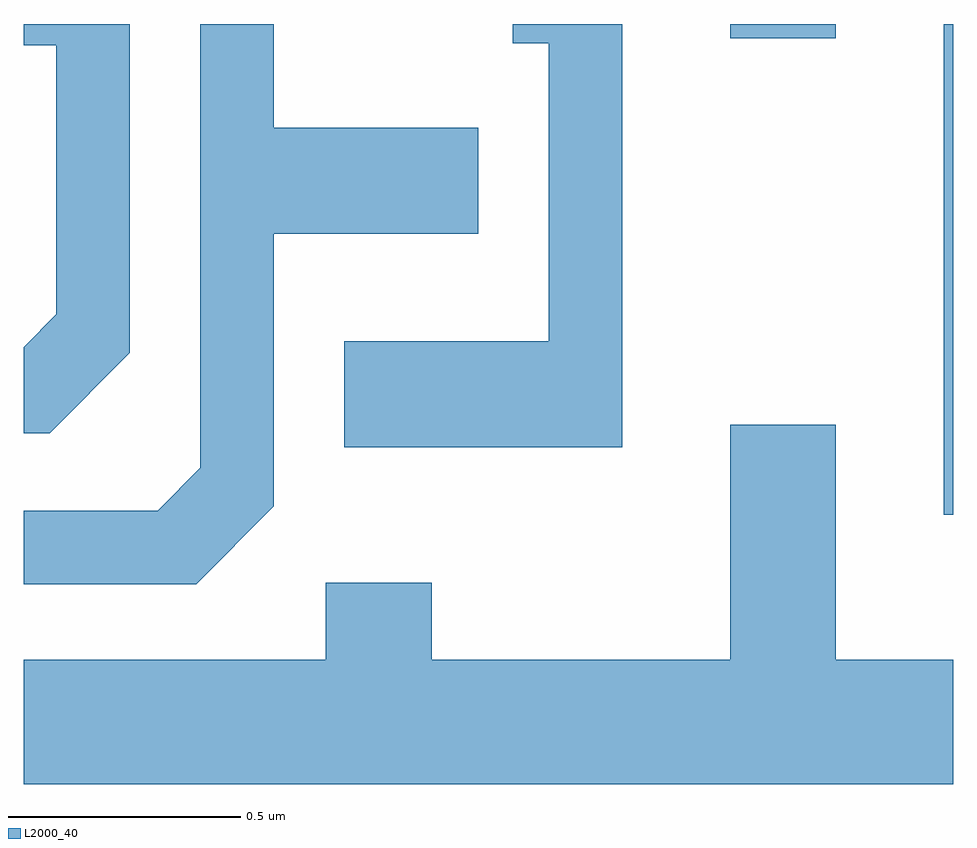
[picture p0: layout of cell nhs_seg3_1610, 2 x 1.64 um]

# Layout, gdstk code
import gdstk
lib = gdstk.Library(unit=1e-6, precision=1e-09)
def R(c, l, rs):  # rectangles x0, y0, x1, y1
    for r in rs: c.add(gdstk.rectangle(r[:2], r[2:], *l))
def P(c, l, *ps):  # polygons
    for p in ps: c.add(gdstk.Polygon(p, *l))
L2000_40 = (2000, 40)

nhs_seg3_1610 = lib.new_cell('nhs_seg3_1610')
R(nhs_seg3_1610, L2000_40, [(198.591,1219.836,198.611,1220.892), (198.131,1220.861,198.359,1220.892)])
P(nhs_seg3_1610, L2000_40, [(196.839,1220.184),(196.839,1220.892),(196.611,1220.892),(196.611,1220.846),(196.681,1220.846),(196.681,1220.267),(196.611,1220.196),(196.611,1220.011),(196.667,1220.011)],
  [(197.149,1219.854),(197.149,1220.441),(197.589,1220.441),(197.589,1220.669),(197.149,1220.669),(197.149,1220.892),(196.991,1220.892),(196.991,1219.937),(196.899,1219.844),(196.611,1219.844),(196.611,1219.686),(196.982,1219.686)],
  [(197.899,1220.892),(197.663,1220.892),(197.663,1220.851),(197.741,1220.851),(197.741,1220.209),(197.301,1220.209),(197.301,1219.981),(197.899,1219.981)],
  [(198.611,1219.524),(198.359,1219.524),(198.359,1220.029),(198.131,1220.029),(198.131,1219.524),(197.489,1219.524),(197.489,1219.689),(197.261,1219.689),(197.261,1219.524),(196.611,1219.524),(196.611,1219.256),(198.611,1219.256)])

lib.write_gds('nhs_seg3_1610.gds')
